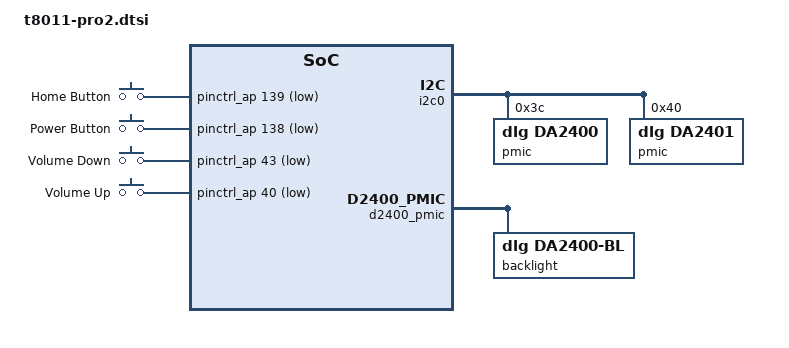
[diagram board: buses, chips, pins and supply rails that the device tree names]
// SPDX-License-Identifier: GPL-2.0+ OR MIT
/*
 * Apple iPad Pro 2 common device tree
 *
 * Copyright (c) 2022, Konrad Dybcio <konradybcio@kernel.org>
 */

#include <dt-bindings/input/input.h>

/ {
	chassis-type = "tablet";

	gpio-keys {
		compatible = "gpio-keys";

		button-home {
			label = "Home Button";
			gpios = <&pinctrl_ap 139 GPIO_ACTIVE_LOW>;
			linux,code = <KEY_HOMEPAGE>;
			wakeup-source;
		};

		button-power {
			label = "Power Button";
			gpios = <&pinctrl_ap 138 GPIO_ACTIVE_LOW>;
			linux,code = <KEY_POWER>;
			wakeup-source;
		};

		button-voldown {
			label = "Volume Down";
			gpios = <&pinctrl_ap 43 GPIO_ACTIVE_LOW>;
			linux,code = <KEY_VOLUMEDOWN>;
		};

		button-volup {
			label = "Volume Up";
			gpios = <&pinctrl_ap 40 GPIO_ACTIVE_LOW>;
			linux,code = <KEY_VOLUMEUP>;
		};
	};
};

&i2c0 {
	status = "okay";

	pmic@3c {
		compatible = "dlg,da2400", "dlg,i2c-da2xxx";
		reg = <0x3c>;
		#address-cells = <1>;
		#size-cells = <0>;

		backlight@b00 {
			compatible = "dlg,da2400-bl", "dlg,da2257-bl";
			reg = <0xb00>;
		};
	};

	pmic@40 {
		compatible = "dlg,da2401", "dlg,i2c-da2xxx";
		reg = <0x40>;
		#address-cells = <1>;
		#size-cells = <0>;
	};
};

&d2400_pmic {
	backlight@b00 {
		compatible = "dlg,da2400-bl", "dlg,da2257-bl";
		reg = <0xb00>;
	};
};

&ps_dcs6 {
	apple,always-on; /* LPDDR4 interface */
};

&ps_dcs7 {
	apple,always-on; /* LPDDR4 interface */
};
